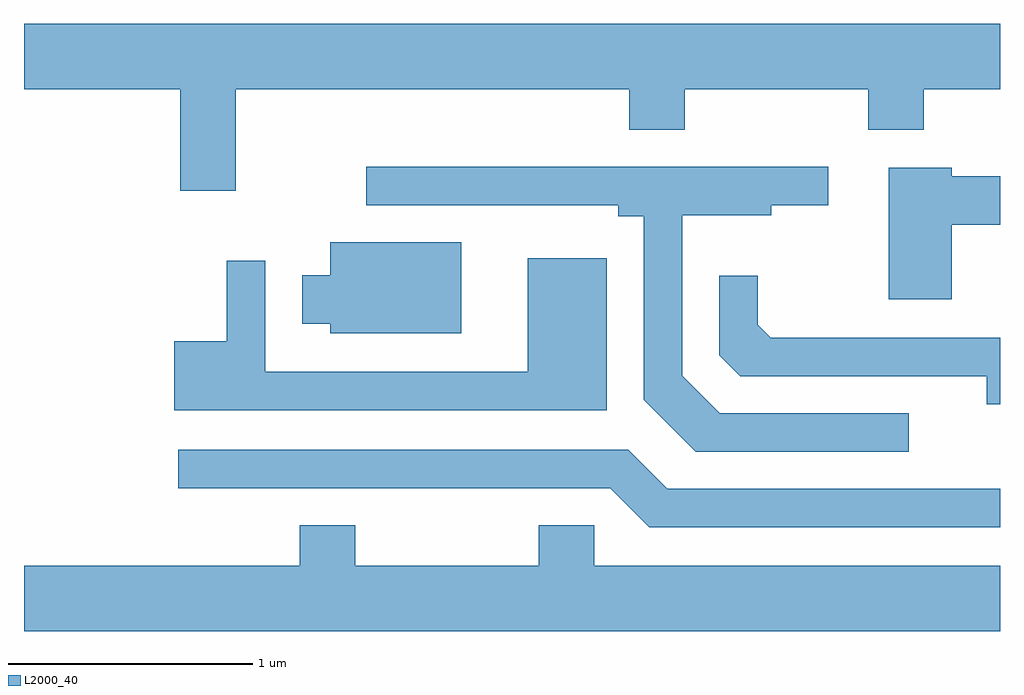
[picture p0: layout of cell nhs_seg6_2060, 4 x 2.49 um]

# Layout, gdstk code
import gdstk
lib = gdstk.Library(unit=1e-6, precision=1e-09)
def P(c, l, *ps):  # polygons
    for p in ps: c.add(gdstk.Polygon(p, *l))
L2000_40 = (2000, 40)

nhs_seg6_2060 = lib.new_cell('nhs_seg6_2060')
P(nhs_seg6_2060, L2000_40, [(248.479,1596.656),(250.091,1596.656),(250.091,1596.491),(250.319,1596.491),(250.319,1596.656),(251.071,1596.656),(251.071,1596.491),(251.299,1596.491),(251.299,1596.656),(251.611,1596.656),(251.611,1596.924),(247.611,1596.924),(247.611,1596.656),(248.251,1596.656),(248.251,1596.241),(248.479,1596.241)],
  [(251.238,1595.329),(250.462,1595.329),(250.309,1595.482),(250.309,1596.141),(250.674,1596.141),(250.674,1596.181),(250.908,1596.181),(250.908,1596.339),(249.013,1596.339),(249.013,1596.181),(250.046,1596.181),(250.046,1596.136),(250.151,1596.136),(250.151,1595.384),(250.364,1595.171),(251.238,1595.171)],
  [(251.414,1596.101),(251.611,1596.101),(251.611,1596.299),(251.414,1596.299),(251.414,1596.334),(251.156,1596.334),(251.156,1595.796),(251.414,1595.796)],
  [(249.404,1596.029),(248.866,1596.029),(248.866,1595.894),(248.751,1595.894),(248.751,1595.696),(248.866,1595.696),(248.866,1595.656),(249.404,1595.656)],
  [(249.999,1595.964),(249.676,1595.964),(249.676,1595.499),(248.599,1595.499),(248.599,1595.953),(248.441,1595.953),(248.441,1595.624),(248.226,1595.624),(248.226,1595.341),(249.999,1595.341)],
  [(251.611,1595.639),(250.672,1595.639),(250.619,1595.692),(250.619,1595.893),(250.461,1595.893),(250.461,1595.567),(250.547,1595.481),(251.556,1595.481),(251.556,1595.366),(251.611,1595.366)],
  [(251.611,1595.019),(250.247,1595.019),(250.087,1595.179),(248.243,1595.179),(248.243,1595.021),(250.014,1595.021),(250.174,1594.861),(251.611,1594.861)],
  [(251.611,1594.704),(249.949,1594.704),(249.949,1594.869),(249.721,1594.869),(249.721,1594.704),(248.969,1594.704),(248.969,1594.869),(248.741,1594.869),(248.741,1594.704),(247.611,1594.704),(247.611,1594.436),(251.611,1594.436)])

lib.write_gds('nhs_seg6_2060.gds')
